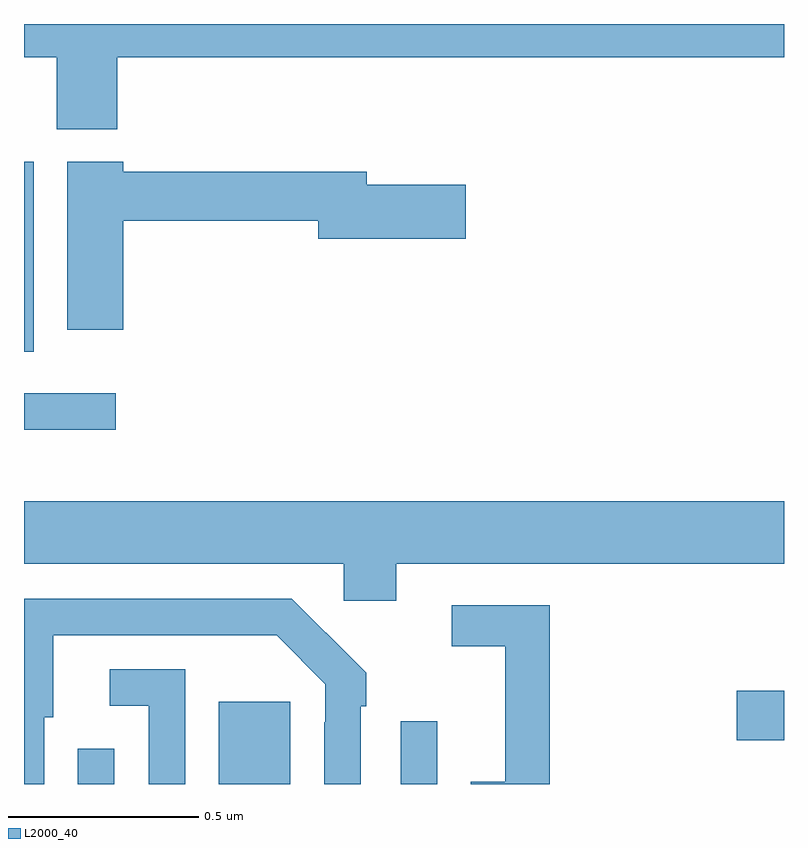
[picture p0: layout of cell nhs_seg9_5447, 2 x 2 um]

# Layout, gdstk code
import gdstk
lib = gdstk.Library(unit=1e-6, precision=1e-09)
def R(c, l, rs):  # rectangles x0, y0, x1, y1
    for r in rs: c.add(gdstk.rectangle(r[:2], r[2:], *l))
def P(c, l, *ps):  # polygons
    for p in ps: c.add(gdstk.Polygon(p, *l))
L2000_40 = (2000, 40)

nhs_seg9_5447 = lib.new_cell('nhs_seg9_5447')
R(nhs_seg9_5447, L2000_40, [(179.142,1202.5,179.238,1202.593), (179.513,1202.5,179.701,1202.716), (179.991,1202.5,180.087,1202.665), (180.876,1202.615,181,1202.745), (179,1203.432,179.242,1203.528), (179,1203.638,179.026,1204.138)])
P(nhs_seg9_5447, L2000_40, [(179.246,1204.412),(181,1204.412),(181,1204.5),(179,1204.5),(179,1204.412),(179.086,1204.412),(179.086,1204.223),(179.246,1204.223)],
  [(179.261,1203.982),(179.774,1203.982),(179.774,1203.935),(180.163,1203.935),(180.163,1204.077),(179.902,1204.077),(179.902,1204.111),(179.261,1204.111),(179.261,1204.138),(179.114,1204.138),(179.114,1203.696),(179.261,1203.696)],
  [(179.98,1203.08),(181,1203.08),(181,1203.244),(179,1203.244),(179,1203.08),(179.841,1203.08),(179.841,1202.982),(179.98,1202.982)],
  [(179.053,1202.676),(179.077,1202.676),(179.077,1202.892),(179.665,1202.892),(179.793,1202.763),(179.793,1202.663),(179.79,1202.663),(179.79,1202.5),(179.886,1202.5),(179.886,1202.705),(179.901,1202.705),(179.901,1202.793),(179.796,1202.898),(179.795,1202.897),(179.704,1202.988),(179,1202.988),(179,1202.5),(179.053,1202.5)],
  [(180.383,1202.97),(180.126,1202.97),(180.126,1202.862),(180.266,1202.862),(180.266,1202.506),(180.176,1202.506),(180.176,1202.5),(180.383,1202.5)],
  [(179.424,1202.802),(179.226,1202.802),(179.226,1202.706),(179.328,1202.706),(179.328,1202.5),(179.424,1202.5)])

lib.write_gds('nhs_seg9_5447.gds')
